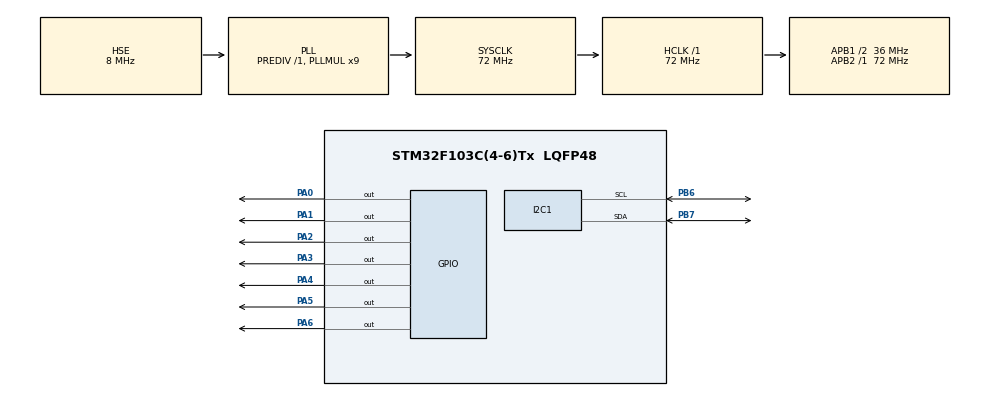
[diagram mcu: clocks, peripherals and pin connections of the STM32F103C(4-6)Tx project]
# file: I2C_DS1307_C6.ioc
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Mcu.Family=STM32F1
Mcu.Name=STM32F103C(4-6)Tx
Mcu.Package=LQFP48
NVIC.PriorityGroup=NVIC_PRIORITYGROUP_4
PA0-WKUP.Signal=GPIO_Output
PA1.Signal=GPIO_Output
PA13.Mode=Serial_Wire
PA13.Signal=SYS_JTMS-SWDIO
PA14.Mode=Serial_Wire
PA14.Signal=SYS_JTCK-SWCLK
PA2.Signal=GPIO_Output
PA3.Signal=GPIO_Output
PA4.Signal=GPIO_Output
PA5.Signal=GPIO_Output
PA6.Signal=GPIO_Output
PB6.Mode=I2C
PB6.Signal=I2C1_SCL
PB7.Mode=I2C
PB7.Signal=I2C1_SDA
PD0-OSC_IN.Mode=HSE-External-Oscillator
PD0-OSC_IN.Signal=RCC_OSC_IN
PD1-OSC_OUT.Mode=HSE-External-Oscillator
PD1-OSC_OUT.Signal=RCC_OSC_OUT
ProjectManager.HeapSize=0x200
ProjectManager.StackSize=0x400
ProjectManager.TargetToolchain=MDK-ARM V5.27
RCC.AHBFreq_Value=72000000
RCC.APB1CLKDivider=RCC_HCLK_DIV2
RCC.APB1Freq_Value=36000000
RCC.APB1TimFreq_Value=72000000
RCC.APB2Freq_Value=72000000
RCC.APB2TimFreq_Value=72000000
RCC.HCLKFreq_Value=72000000
RCC.PLLMUL=RCC_PLL_MUL9
RCC.PLLSourceVirtual=RCC_PLLSOURCE_HSE
RCC.SYSCLKFreq_VALUE=72000000
RCC.SYSCLKSource=RCC_SYSCLKSOURCE_PLLCLK
RCC.USBFreq_Value=72000000
board=custom

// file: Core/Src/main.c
/* USER CODE BEGIN Header */
/**
  ******************************************************************************
  * @file           : main.c
  * @brief          : Main program body
  ******************************************************************************
  * @attention
  *
  * <h2><center>&copy; Copyright (c) 2024 STMicroelectronics.
  * All rights reserved.</center></h2>
  *
  * This software component is licensed by ST under BSD 3-Clause license,
  * the "License"; You may not use this file except in compliance with the
  * License. You may obtain a copy of the License at:
  *                        opensource.org/licenses/BSD-3-Clause
  *
  ******************************************************************************
  */
/* USER CODE END Header */
#include "main.h"

/* USER CODE BEGIN Includes */
#include "string.h"
#include "stdio.h"
/* USER CODE END Includes */

/* USER CODE BEGIN PD */
#define RTC_ADDR 0x68 << 1

//define cac chan LCD
#define LCD_PORT GPIOA

#define LCD_RS GPIO_PIN_0
#define LCD_RW GPIO_PIN_1
#define LCD_E GPIO_PIN_2

#define LCD_D4 GPIO_PIN_3
#define LCD_D5 GPIO_PIN_4
#define LCD_D6 GPIO_PIN_5
#define LCD_D7 GPIO_PIN_6

#define cmd_reg 0
#define data_reg 1
/* USER CODE END PD */

I2C_HandleTypeDef hi2c1;

void SystemClock_Config(void);
static void MX_GPIO_Init(void);
static void MX_I2C1_Init(void);

/* USER CODE BEGIN 0 */

void LCD_Enable(void) {
    HAL_GPIO_WritePin(LCD_PORT, LCD_E, GPIO_PIN_SET); // Set EN
    HAL_Delay(1);                                                  // Wait 1 ms
    HAL_GPIO_WritePin(LCD_PORT, LCD_E, GPIO_PIN_RESET); // Reset EN
}

void LCD_Send4Bit(uint8_t data) {
    HAL_GPIO_WritePin(LCD_PORT, LCD_D4, (data >> 0) & 0x01);
    HAL_GPIO_WritePin(LCD_PORT, LCD_D5, (data >> 1) & 0x01);
    HAL_GPIO_WritePin(LCD_PORT, LCD_D6, (data >> 2) & 0x01);
    HAL_GPIO_WritePin(LCD_PORT, LCD_D7, (data >> 3) & 0x01);
    LCD_Enable(); // Pulse the Enable pin
}

void LCD_SendCommand(uint8_t cmd) {
    HAL_GPIO_WritePin(LCD_PORT, LCD_RS, GPIO_PIN_RESET); // RS = 0 for command
    LCD_Send4Bit(cmd >> 4);  // Send higher nibble
    LCD_Send4Bit(cmd & 0x0F); // Send lower nibble
}

void LCD_SendData(uint8_t data) {
    HAL_GPIO_WritePin(LCD_PORT, LCD_RS, GPIO_PIN_SET); // RS = 1 for data
    LCD_Send4Bit(data >> 4);  // Send higher nibble
    LCD_Send4Bit(data & 0x0F); // Send lower nibble
}

void LCD_Init(void) {
    HAL_Delay(20);             // Wait for power stabilization
    LCD_Send4Bit(0x03);        // Initialization sequence
    HAL_Delay(5);
    LCD_Send4Bit(0x03);
    HAL_Delay(1);
    LCD_Send4Bit(0x03);
    LCD_Send4Bit(0x02);        // Switch to 4-bit mode

    LCD_SendCommand(0x28);     // Function set: 4-bit, 2 lines, 5x7 dots
    LCD_SendCommand(0x0C);     // Display ON, Cursor OFF
    LCD_SendCommand(0x06);     // Entry mode set: Increment cursor
    LCD_SendCommand(0x01);     // Clear display
    HAL_Delay(5);
}

void LCD_Print(char *str) {
    while (*str) {
        LCD_SendData(*str++);
    }
}

void LCD_SetCursor(uint8_t row, uint8_t col) {
    uint8_t addr = (row == 0) ? 0x80 : 0xC0; // 0x80 for row 1, 0xC0 for row 2
    addr += col;
    LCD_SendCommand(addr);
}

//Tao mot struct de luu cac gia tri thoi gian
typedef struct{
	uint8_t second;
	uint8_t minute;
	uint8_t hour;
	uint8_t day;
	uint8_t date;
	uint8_t month;
	uint8_t year;
} DateTime;

uint8_t Decimal2BCD(uint8_t num){
	return (num/10)<<4 | (num%10);
}

uint8_t BCD2Decimal(uint8_t num){
	return (num>>4)*10 + (num&0x0F);
}

void RTC_WriteTime(DateTime *dt){
	uint8_t buf[8];
	buf[0] = 0;
	buf[1] = Decimal2BCD(dt->second);
	buf[2] = Decimal2BCD(dt->minute);
	buf[3] = Decimal2BCD(dt->hour);
	buf[4] = Decimal2BCD(dt->day);
	buf[5] = Decimal2BCD(dt->date);
	buf[6] = Decimal2BCD(dt->month);
	buf[7] = Decimal2BCD(dt->year);

	HAL_I2C_Master_Transmit(&hi2c1, RTC_ADDR, buf, 8, 100);
}

void RTC_ReadTime(DateTime *dt){
	uint8_t buff[7];
	uint8_t addr_reg = 0;
	HAL_I2C_Master_Transmit(&hi2c1, RTC_ADDR, &addr_reg, 1, 100);
	HAL_I2C_Master_Receive(&hi2c1, RTC_ADDR, buff, 7, 100);
	dt->second = BCD2Decimal(buff[0]);
	dt->minute = BCD2Decimal(buff[1]);
	dt->hour = BCD2Decimal(buff[2]);
	dt->day = BCD2Decimal(buff[3]);
	dt->date = BCD2Decimal(buff[4]);
	dt->month = BCD2Decimal(buff[5]);
	dt->year = BCD2Decimal(buff[6]);

}
/* USER CODE END 0 */

int main(void)
{

  /* MCU Configuration--------------------------------------------------------*/

  /* Reset of all peripherals, Initializes the Flash interface and the Systick. */
  HAL_Init();

  /* USER CODE BEGIN Init */
	LCD_Init();                   // Khoi tao LCD
  /* USER CODE END Init */

  /* Configure the system clock */
  SystemClock_Config();

  /* Initialize all configured peripherals */
  MX_GPIO_Init();
  MX_I2C1_Init();
  /* USER CODE BEGIN 2 */
	DateTime datetime;
	/*
	datetime.second = 0;
	datetime.minute = 0;
	datetime.hour = 0;
	datetime.day = 0;
	datetime.date = 0;
	datetime.month = 0;
	datetime.year = 0;
	RTC_WriteTime(&datetime);
	*/
  /* USER CODE END 2 */

  /* Infinite loop */
  /* USER CODE BEGIN WHILE */
  while (1)
  {
		RTC_ReadTime(&datetime);
    /* USER CODE END WHILE */

    /* USER CODE BEGIN 3 */
		 LCD_SetCursor(0, 0);          // Hang 1, cot 0
    LCD_Print("Hello, World!");   // Hien thi chui
    LCD_SetCursor(1, 0);          // Hаng 2, cot 0
    LCD_Print("STM32 HAL");       // Hien thi chui
  }
  /* USER CODE END 3 */
}

void SystemClock_Config(void)
{
  RCC_OscInitTypeDef RCC_OscInitStruct = {0};
  RCC_ClkInitTypeDef RCC_ClkInitStruct = {0};

  /** Initializes the RCC Oscillators according to the specified parameters
  * in the RCC_OscInitTypeDef structure.
  */
  RCC_OscInitStruct.OscillatorType = RCC_OSCILLATORTYPE_HSE;
  RCC_OscInitStruct.HSEState = RCC_HSE_ON;
  RCC_OscInitStruct.HSEPredivValue = RCC_HSE_PREDIV_DIV1;
  RCC_OscInitStruct.HSIState = RCC_HSI_ON;
  RCC_OscInitStruct.PLL.PLLState = RCC_PLL_ON;
  RCC_OscInitStruct.PLL.PLLSource = RCC_PLLSOURCE_HSE;
  RCC_OscInitStruct.PLL.PLLMUL = RCC_PLL_MUL9;
  if (HAL_RCC_OscConfig(&RCC_OscInitStruct) != HAL_OK)
  {
    Error_Handler();
  }
  /** Initializes the CPU, AHB and APB buses clocks
  */
  RCC_ClkInitStruct.ClockType = RCC_CLOCKTYPE_HCLK|RCC_CLOCKTYPE_SYSCLK
                              |RCC_CLOCKTYPE_PCLK1|RCC_CLOCKTYPE_PCLK2;
  RCC_ClkInitStruct.SYSCLKSource = RCC_SYSCLKSOURCE_PLLCLK;
  RCC_ClkInitStruct.AHBCLKDivider = RCC_SYSCLK_DIV1;
  RCC_ClkInitStruct.APB1CLKDivider = RCC_HCLK_DIV2;
  RCC_ClkInitStruct.APB2CLKDivider = RCC_HCLK_DIV1;

  if (HAL_RCC_ClockConfig(&RCC_ClkInitStruct, FLASH_LATENCY_2) != HAL_OK)
  {
    Error_Handler();
  }
}

static void MX_I2C1_Init(void)
{

  hi2c1.Instance = I2C1;
  hi2c1.Init.ClockSpeed = 100000;
  hi2c1.Init.DutyCycle = I2C_DUTYCYCLE_2;
  hi2c1.Init.OwnAddress1 = 0;
  hi2c1.Init.AddressingMode = I2C_ADDRESSINGMODE_7BIT;
  hi2c1.Init.DualAddressMode = I2C_DUALADDRESS_DISABLE;
  hi2c1.Init.OwnAddress2 = 0;
  hi2c1.Init.GeneralCallMode = I2C_GENERALCALL_DISABLE;
  hi2c1.Init.NoStretchMode = I2C_NOSTRETCH_DISABLE;
  if (HAL_I2C_Init(&hi2c1) != HAL_OK)
  {
    Error_Handler();
  }

}

static void MX_GPIO_Init(void)
{
  GPIO_InitTypeDef GPIO_InitStruct = {0};

  /* GPIO Ports Clock Enable */
  __HAL_RCC_GPIOD_CLK_ENABLE();
  __HAL_RCC_GPIOA_CLK_ENABLE();
  __HAL_RCC_GPIOB_CLK_ENABLE();

  /*Configure GPIO pin Output Level */
  HAL_GPIO_WritePin(GPIOA, GPIO_PIN_0|GPIO_PIN_1|GPIO_PIN_2|GPIO_PIN_3
                          |GPIO_PIN_4|GPIO_PIN_5|GPIO_PIN_6, GPIO_PIN_RESET);

  /*Configure GPIO pins : PA0 PA1 PA2 PA3
                           PA4 PA5 PA6 */
  GPIO_InitStruct.Pin = GPIO_PIN_0|GPIO_PIN_1|GPIO_PIN_2|GPIO_PIN_3
                          |GPIO_PIN_4|GPIO_PIN_5|GPIO_PIN_6;
  GPIO_InitStruct.Mode = GPIO_MODE_OUTPUT_PP;
  GPIO_InitStruct.Pull = GPIO_NOPULL;
  GPIO_InitStruct.Speed = GPIO_SPEED_FREQ_LOW;
  HAL_GPIO_Init(GPIOA, &GPIO_InitStruct);

}

void Error_Handler(void)
{
}

/************************ (C) COPYRIGHT STMicroelectronics *****END OF FILE****/
